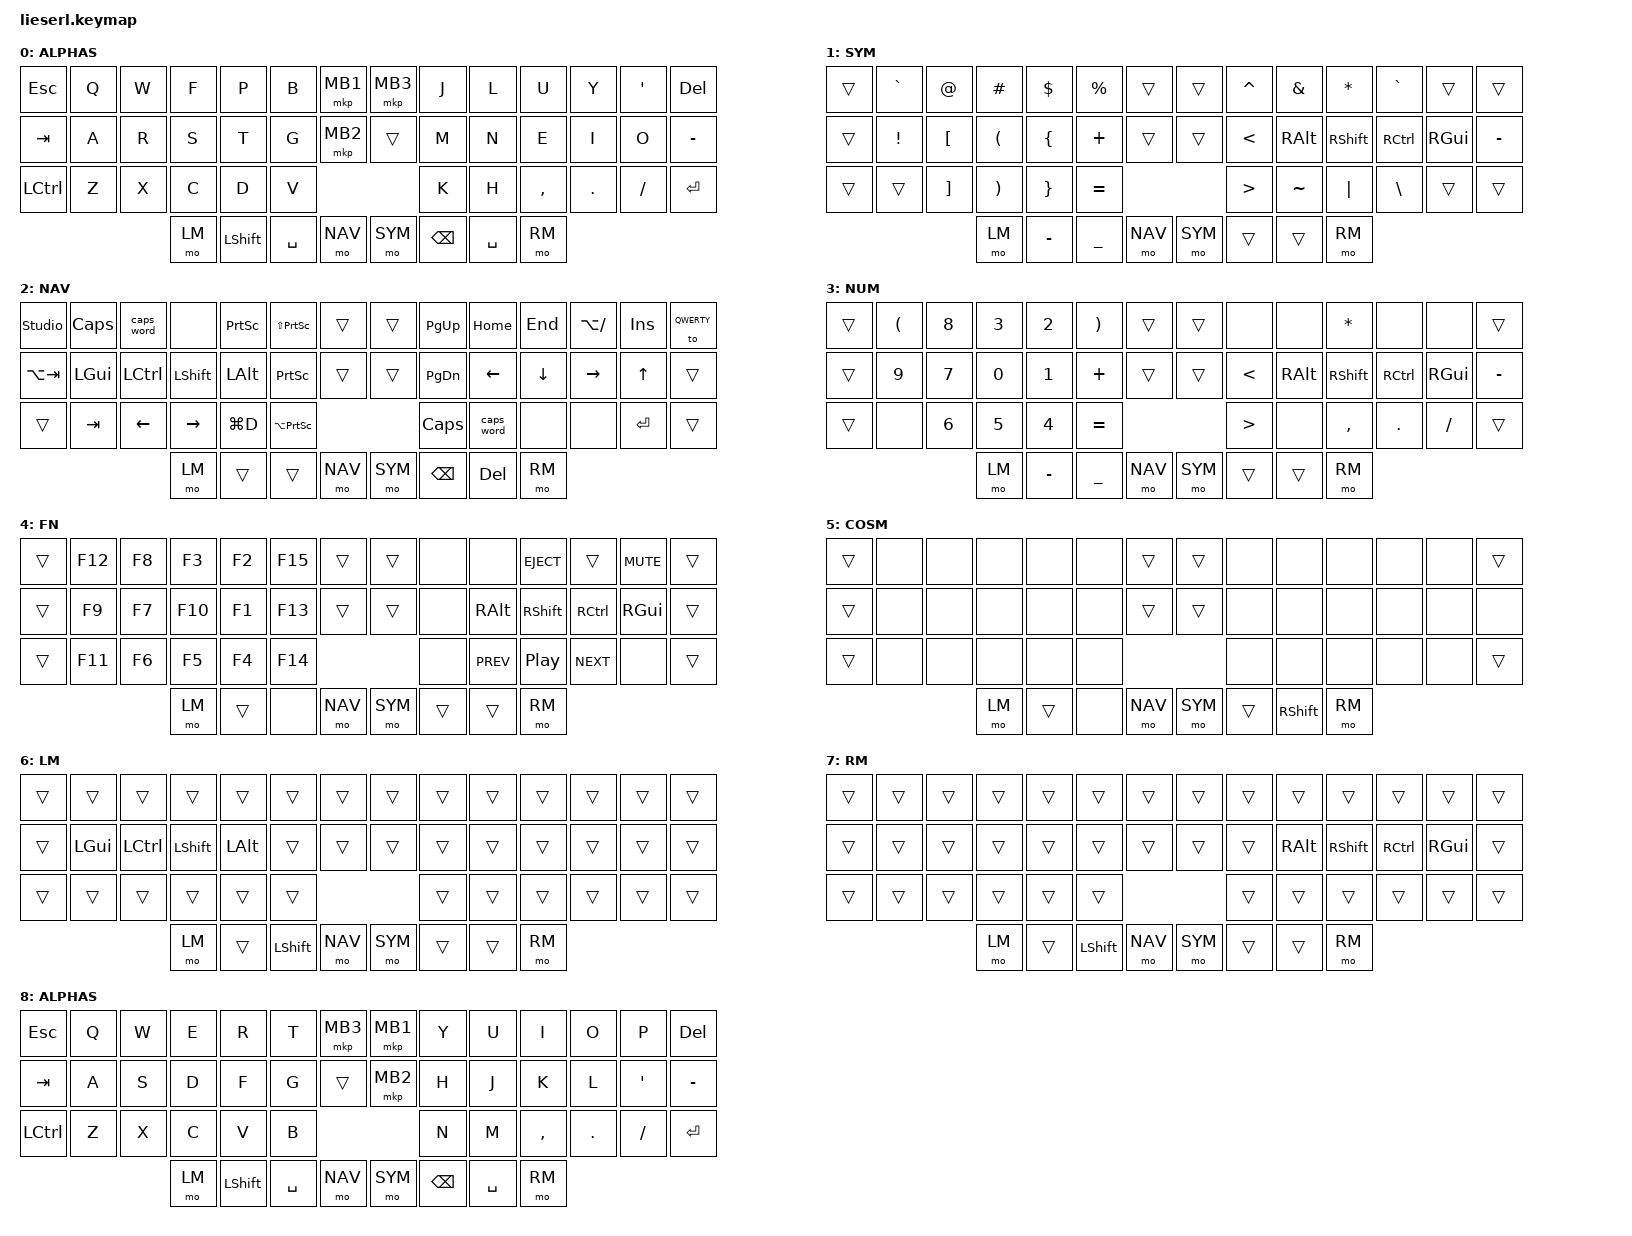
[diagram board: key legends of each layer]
#include <behaviors.dtsi>
#include <dt-bindings/zmk/keys.h>
#include <dt-bindings/zmk/pointing.h>

#define ALPHAS 0
#define SYM 1
#define NAV 2
#define NUM 3
#define FN 4
#define COSM 5
#define LM 6
#define RM 7
#define QWERTY 8

/ {
    keymap {
        compatible = "zmk,keymap";
        
        default_layer {
            display-name = "ALPHAS";
            bindings = <
                &kp ESC     &kp Q   &kp W   &kp F   &kp P   &kp B  &mkp MB1  &mkp MB3     &kp J   &kp L   &kp U   &kp Y       &kp SQT     &kp DEL
                &kp TAB     &kp A   &kp R   &kp S   &kp T   &kp G  &mkp MB2      &trans      &kp M   &kp N   &kp E   &kp I       &kp O       &kp MINUS
                &kp LCTRL   &kp Z   &kp X   &kp C   &kp D   &kp V                            &kp K   &kp H       &kp COMMA   &kp DOT     &kp FSLH    &kp RET
                                            &mo LM   &kp LSHFT   &kp SPACE &mo NAV &mo SYM   &kp BSPC    &kp SPACE   &mo RM
            >;                              
        };

        // default_layer {
        //     display-name = "TEST";
        //     bindings = <
        //         &kp ESC     &kp Q   &kp W   &kp F   &kp P   &kp B  &kp N8 &kp N0      &kp J   &kp L   &kp U   &kp Y       &kp SQT     &kp DEL
        //         &kp N2     &kp A   &kp R   &kp S   &kp T   &kp G  &kp N9 &kp N1      &kp M   &kp N   &kp E   &kp I       &kp O       &kp MINUS
        //         &kp N3   &kp Z   &kp X   &kp C   &kp D   &kp V                       &kp K   &kp H       &kp COMMA   &kp DOT     &kp FSLH    &kp RET
        //                                     &kp N4   &kp N5   &kp SPACE &kp N6 &kp N7   &kp BSPC    &kp SPACE   &kp N8
        //     >;
        // };

        sym_layer {
            display-name = "SYM";
            bindings = <
                 &trans      &kp GRAVE &kp AT    &kp HASH  &kp DLLR  &kp PRCNT    &trans &trans   &kp CARET &kp AMPS  &kp ASTRK &kp GRAVE   &trans      &trans
                &trans      &kp EXCL  &kp LBKT  &kp LPAR  &kp LBRC  &kp PLUS     &trans &trans   &kp LT    &kp RALT  &kp RSHFT &kp RCTRL   &kp RGUI    &kp MINUS
                &trans      &trans    &kp RBKT  &kp RPAR  &kp RBRC  &kp EQUAL                       &kp GT    &kp TILDE   &kp PIPE    &kp BSLH    &trans      &trans
                                             &mo LM     &kp MINUS     &kp UNDER &mo NAV     &mo SYM     &trans      &trans      &mo RM
            >;
        };

        nav_layer {
            display-name = "NAV";
            bindings = <
                &studio_unlock      &kp CAPS  &caps_word &none     &kp PSCRN &kp LS(PSCRN)  &trans &trans &kp PG_UP &kp HOME  &kp END   &kp LA(FSLH) &kp INS     &to QWERTY
                &kp LA(TAB) &kp LGUI  &kp LCTRL  &kp LSHFT &kp LALT  &kp PSCRN     &trans &trans  &kp PG_DN &kp LEFT  &kp DOWN  &kp RIGHT    &kp UP      &trans
                &trans      &kp TAB   &kp LEFT   &kp RIGHT &kp LG(D) &kp LA(PSCRN)                     &kp CAPS  &caps_word   &none       &none       &kp RET     &trans
                                                  &mo LM     &trans        &trans    &mo NAV     &mo SYM &kp BSPC     &kp DEL     &mo RM
            >;
        };

        num_layer {
            display-name = "NUM";
            bindings = <
                &trans &kp LPAR &kp N8   &kp N3   &kp N2   &kp RPAR    &trans &trans    &none     &none     &kp ASTRK &none       &none       &trans
                &trans          &kp N9   &kp N7   &kp N0   &kp N1   &kp PLUS    &trans &trans    &kp LT    &kp RALT  &kp RSHFT &kp RCTRL   &kp RGUI    &kp MINUS
                &trans          &none    &kp N6   &kp N5   &kp N4   &kp EQUAL                         &kp GT    &none       &kp COMMA   &kp DOT     &kp FSLH    &trans
                                                 &mo LM    &kp MINUS     &kp UNDER &mo NAV    &mo SYM    &trans      &trans      &mo RM
            >;
        };

        fn_layer {
            display-name = "FN";
            bindings = <
                &trans &kp F12  &kp F8   &kp F3   &kp F2   &kp F15   &trans &trans      &none     &none     &kp C_EJECT &trans &kp C_MUTE  &trans
                &trans          &kp F9   &kp F7   &kp F10  &kp F1   &kp F13     &trans &trans    &none     &kp RALT  &kp RSHFT   &kp RCTRL       &kp RGUI    &trans
                &trans          &kp F11  &kp F6   &kp F5   &kp F4   &kp F14                           &none     &kp C_PREV      &kp C_PP    &kp C_NEXT  &none       &trans
                                                  &mo LM    &trans        &none     &mo NAV     &mo SYM     &trans          &trans      &mo RM
            >;
        };

        cosm_layer {
            display-name = "COSM";
            bindings = <
                &trans      &none     &none     &none     &none     &none     &trans &trans      &none     &none     &none     &none       &none       &trans
                &trans      &none     &none     &none     &none     &none     &trans &trans      &none     &none     &none     &none       &none       &none
                &trans      &none     &none     &none     &none     &none                             &none     &none       &none       &none       &none       &trans
                                               &mo LM     &trans        &none     &mo NAV     &mo SYM     &trans      &kp RSHFT   &mo RM
            >;
        };

        lm_layer {
            display-name = "LM";
            bindings = <
                &trans      &trans    &trans    &trans    &trans    &trans   &trans &trans       &trans    &trans    &trans    &trans      &trans      &trans
                &trans      &kp LGUI  &kp LCTRL &kp LSHFT &kp LALT  &trans    &trans &trans      &trans    &trans    &trans    &trans      &trans      &trans
                &trans      &trans    &trans    &trans    &trans    &trans                            &trans    &trans      &trans      &trans      &trans      &trans
                                                 &mo LM    &trans        &kp LSHFT &mo NAV    &mo SYM     &trans      &trans      &mo RM
            >;
        };

        rm_layer {
            display-name = "RM";
            bindings = <
                &trans      &trans    &trans    &trans    &trans    &trans    &trans &trans      &trans    &trans    &trans    &trans      &trans      &trans
                &trans      &trans    &trans    &trans    &trans    &trans    &trans &trans      &trans    &kp RALT  &kp RSHFT &kp RCTRL   &kp RGUI    &trans
                &trans      &trans    &trans    &trans    &trans    &trans                            &trans    &trans      &trans      &trans      &trans      &trans
                                               &mo LM    &trans        &kp LSHFT &mo NAV     &mo SYM    &trans      &trans      &mo RM
            >;
        };
        
        qwerty {
            display-name = "ALPHAS";
            bindings = <
                &kp ESC     &kp Q   &kp W   &kp E   &kp R   &kp T  &mkp MB3  &mkp MB1     &kp Y   &kp U   &kp I   &kp O       &kp P     &kp DEL
                &kp TAB     &kp A   &kp S   &kp D   &kp F   &kp G  &trans      &mkp MB2      &kp H   &kp J   &kp K   &kp L       &kp SQT       &kp MINUS
                &kp LCTRL   &kp Z   &kp X   &kp C   &kp V   &kp B                            &kp N   &kp M       &kp COMMA   &kp DOT     &kp FSLH    &kp RET
                                            &mo LM   &kp LSHFT   &kp SPACE &mo NAV &mo SYM   &kp BSPC    &kp SPACE   &mo RM
            >;
        };
        extra1 {
            status = "reserved";
        };

        extra2 {
            status = "reserved";
        };
        extra3 {
            status = "reserved";
        };


        // gi_layer {
        //     display-name = "GI";
        //     bindings = <
        //         &trans      &kp LCTRL &kp N2    &kp N5    &kp N3    &kp N4    &trans &trans      &none     &none     &none     &none       &none       &trans
        //         &kp N1      &kp LSHFT &kp Q     &kp W     &kp E     &kp F      &trans &trans     &none     &none     &none     &none       &none       &trans
        //         &kp ESC     &kp X     &kp A     &kp S     &kp D     &kp T                             &kp SEMI  &none       &none       &none       &none       &trans
        //                                       &to 0     &kp Z     &mo 5         &kp SPACE &mo 9     &none     &none       &none       &none
        //     >;
        // };

        // gi2_layer {
        //     display-name = "GI2";
        //     bindings = <
        //         &kp LGUI    &kp J     &kp M     &kp U     &kp B     &kp C      &trans &trans     &trans    &trans    &trans    &trans      &trans      &trans
        //         &kp LA(TAB) &kp V     &kp Q     &kp W     &kp E     &kp LC(G)   &trans &trans    &trans    &trans    &trans    &trans      &trans      &trans
        //         &kp P       &kp O     &kp R     &kp TAB   &kp L     &kp G                             &rgb_ug RGB_TOG &rgb_ug RGB_TOG &rgb_ug RGB_TOG &rgb_ug RGB_TOG &rgb_ug RGB_TOG &trans
        //                                       &kp LG(D) &kp Y     &trans        &trans    &trans    &none     &none       &none       &none
        //     >;
        // };
    };
};

/ {
    conditional_layers {
        compatible = "zmk,conditional-layers";
        tri_num {
            if-layers = <SYM NAV>;
            then-layer = <NUM>;
        };
        tri_fn {
            if-layers = <SYM RM>;
            then-layer = <COSM>;
        };
        tri_cosm {
            if-layers = <NAV LM>;
            then-layer = <FN>;
        };
    };
};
